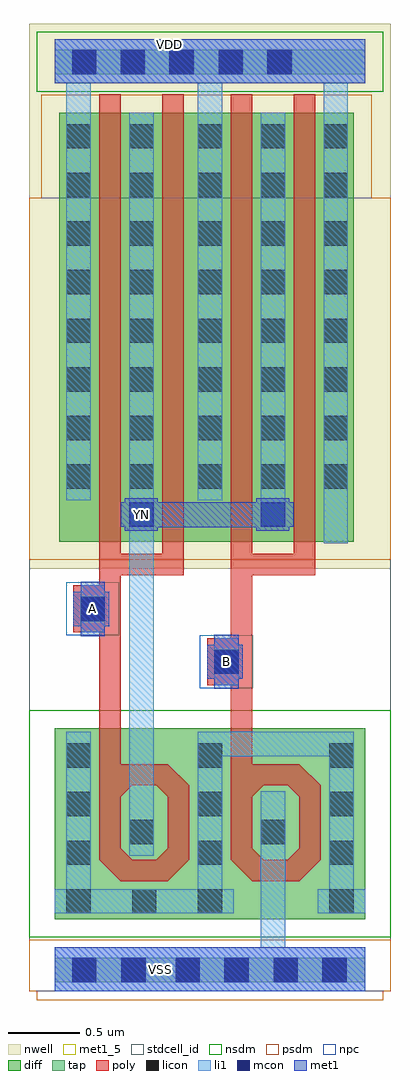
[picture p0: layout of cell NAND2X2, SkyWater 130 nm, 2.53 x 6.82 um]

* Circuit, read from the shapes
.subckt NAND2X2 A B VDD VSS YN
XM1 n1 A YN VSS sky130_fd_pr__nfet_01v8 w=2.475 l=0.1487
XM2 n1 B VSS VSS sky130_fd_pr__nfet_01v8 w=2.475 l=0.1502
XM3 YN A VDD VDD sky130_fd_pr__pfet_01v8 w=3 l=0.15 m=2
XM4 YN B VDD VDD sky130_fd_pr__pfet_01v8 w=3 l=0.15 m=2
.ends

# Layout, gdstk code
import gdstk
lib = gdstk.Library(unit=1e-6, precision=1e-09)
def R(c, l, rs):  # rectangles x0, y0, x1, y1
    for r in rs: c.add(gdstk.rectangle(r[:2], r[2:], *l))
def A(c, l, x, y, w, h, nx, ny, dx, dy):  # array of equal rectangles
    R(c, l, [(x+i*dx, y+j*dy, x+i*dx+w, y+j*dy+h) for i in range(nx) for j in range(ny)])
def P(c, l, *ps):  # polygons
    for p in ps: c.add(gdstk.Polygon(p, *l))
nwell = (64, 20)
diff = (65, 20)
tap = (65, 44)
poly = (66, 20)
licon = (66, 44)
li1 = (67, 20)
mcon = (67, 44)
met1_5 = (68, 5)
met1 = (68, 20)
stdcell_id = (81, 4)
nsdm = (93, 44)
psdm = (94, 20)
npc = (95, 20)

nand2x2 = lib.new_cell('NAND2X2')
R(nand2x2, nwell, [(-0.18,2.955,2.35,6.765)])
R(nand2x2, diff, [(0,0.505,2.17,1.84), (0.03,3.145,2.09,6.145)])
R(nand2x2, tap, [(0,0.065,2.17,0.235), (0,6.415,2.17,6.585)])
R(nand2x2, poly, [(0.46,0.77,0.79,0.92), (1.38,0.77,1.71,0.92), (0.31,0.92,0.46,1.44), (0.79,0.92,0.94,1.44), (1.23,0.92,1.38,1.44), (1.71,0.92,1.86,1.44), (0.31,1.44,0.79,1.59), (1.23,1.44,1.71,1.59), (0.31,1.59,0.46,2.51), (1.23,1.59,1.38,2.14), (1.065,2.14,1.38,2.47), (1.23,2.47,1.38,2.91), (0.13,2.51,0.46,2.84), (0.31,2.84,0.46,2.91), (0.31,2.91,0.9,3.06), (1.23,2.91,1.82,3.06), (0.31,3.06,0.46,6.275), (0.75,3.06,0.9,6.275), (1.23,3.06,1.38,6.275), (1.67,3.06,1.82,6.275)])
P(nand2x2, poly, [(0.79,1.59),(0.79,1.44),(0.94,1.44)],
  [(0.46,1.36),(0.46,1.44),(0.54,1.44)],
  [(0.71,1.44),(0.79,1.44),(0.79,1.36)],
  [(0.46,1),(0.46,0.92),(0.54,0.92)],
  [(0.71,0.92),(0.79,0.92),(0.79,1)],
  [(0.31,0.92),(0.46,0.92),(0.46,0.77)],
  [(0.79,0.77),(0.79,0.92),(0.94,0.92)],
  [(1.71,1.59),(1.71,1.44),(1.86,1.44)],
  [(1.38,1.36),(1.38,1.44),(1.46,1.44)],
  [(1.63,1.44),(1.71,1.44),(1.71,1.36)],
  [(1.38,1),(1.38,0.92),(1.46,0.92)],
  [(1.63,0.92),(1.71,0.92),(1.71,1)],
  [(1.23,0.92),(1.38,0.92),(1.38,0.77)],
  [(1.71,0.77),(1.71,0.92),(1.86,0.92)])
A(nand2x2, licon, 0.08, 0.545, 0.17, 0.17, 3, 1, 0.46, 0)
A(nand2x2, licon, 0.08, 0.885, 0.17, 0.17, 3, 3, 0.92, 0.34)
A(nand2x2, licon, 0.08, 3.515, 0.17, 0.17, 1, 8, 0, 0.34)
A(nand2x2, licon, 0.52, 3.515, 0.17, 0.17, 1, 8, 0, 0.34)
A(nand2x2, licon, 1, 3.515, 0.17, 0.17, 3, 8, 0.44, 0.34)
A(nand2x2, licon, 0.12, 6.415, 0.17, 0.17, 3, 1, 0.34, 0)
R(nand2x2, licon, [(0.12,0.065,0.29,0.235), (0.465,0.065,0.635,0.235), (0.845,0.065,1.015,0.235), (1.185,0.065,1.355,0.235), (1.53,0.065,1.7,0.235), (1.87,0.065,2.04,0.235), (1.92,0.545,2.09,0.715), (0.52,1.03,0.69,1.2), (1.44,1.03,1.61,1.2), (1.115,2.22,1.285,2.39), (0.18,2.59,0.35,2.76), (1.145,6.415,1.315,6.585), (1.485,6.415,1.655,6.585)])
R(nand2x2, li1, [(0,0,2.17,0.31), (1.44,0.31,1.61,1.4), (0,0.545,1.25,0.715), (1.84,0.545,2.17,0.715), (0.08,0.715,0.25,1.815), (1,0.715,1.17,1.645), (1.92,0.715,2.09,1.645), (0.52,0.95,0.69,6.145), (1,1.645,2.09,1.815), (1.115,2.14,1.285,2.47), (0.18,2.51,0.35,2.84), (1.88,3.135,2.05,6.35), (1.44,3.25,1.61,6.145), (0.08,3.435,0.25,6.35), (1,3.435,1.17,6.35), (0,6.35,2.17,6.66)])
A(nand2x2, mcon, 0.12, 6.415, 0.17, 0.17, 3, 1, 0.34, 0)
R(nand2x2, mcon, [(0.12,0.065,0.29,0.235), (0.465,0.065,0.635,0.235), (0.845,0.065,1.015,0.235), (1.185,0.065,1.355,0.235), (1.53,0.065,1.7,0.235), (1.87,0.065,2.04,0.235), (1.115,2.22,1.285,2.39), (0.18,2.59,0.35,2.76), (0.52,3.25,0.69,3.42), (1.44,3.25,1.61,3.42), (1.145,6.415,1.315,6.585), (1.485,6.415,1.655,6.585)])
R(nand2x2, met1_5, [(1.115,2.22,1.285,2.39), (0.18,2.59,0.35,2.76), (0.52,3.25,0.69,3.42)])
R(nand2x2, met1, [(0,0,2.17,0.31), (1.115,2.115,1.285,2.185), (1.065,2.185,1.315,2.425), (1.115,2.425,1.285,2.495), (0.18,2.485,0.35,2.555), (0.13,2.555,0.38,2.795), (0.18,2.795,0.35,2.865), (0.49,3.22,0.72,3.245), (1.41,3.22,1.64,3.245), (0.49,3.245,1.64,3.25), (0.46,3.25,1.67,3.42), (0.49,3.42,0.72,3.45), (1.41,3.42,1.64,3.45), (0,6.35,2.17,6.66)])
R(nand2x2, stdcell_id, [(-0.18,0,2.35,5.55)])
R(nand2x2, nsdm, [(-0.18,0.38,2.35,1.965), (-0.125,6.29,2.295,6.71)])
R(nand2x2, psdm, [(-0.125,-0.06,2.295,0), (-0.18,0,2.35,0.36), (-0.18,3.02,2.35,5.55), (-0.095,5.55,2.215,6.27)])
R(nand2x2, npc, [(1.015,2.12,1.385,2.49), (0.08,2.49,0.45,2.86)])
nand2x2.add(gdstk.Label('VDD', (0.805,6.625), layer=68, texttype=5))
nand2x2.add(gdstk.Label('VSS', (0.74,0.155), layer=68, texttype=5))
nand2x2.add(gdstk.Label('A', (0.265,2.675), layer=68, texttype=5))
nand2x2.add(gdstk.Label('B', (1.2,2.305), layer=68, texttype=5))
nand2x2.add(gdstk.Label('YN', (0.605,3.335), layer=68, texttype=5))

lib.write_gds('NAND2X2.gds')
